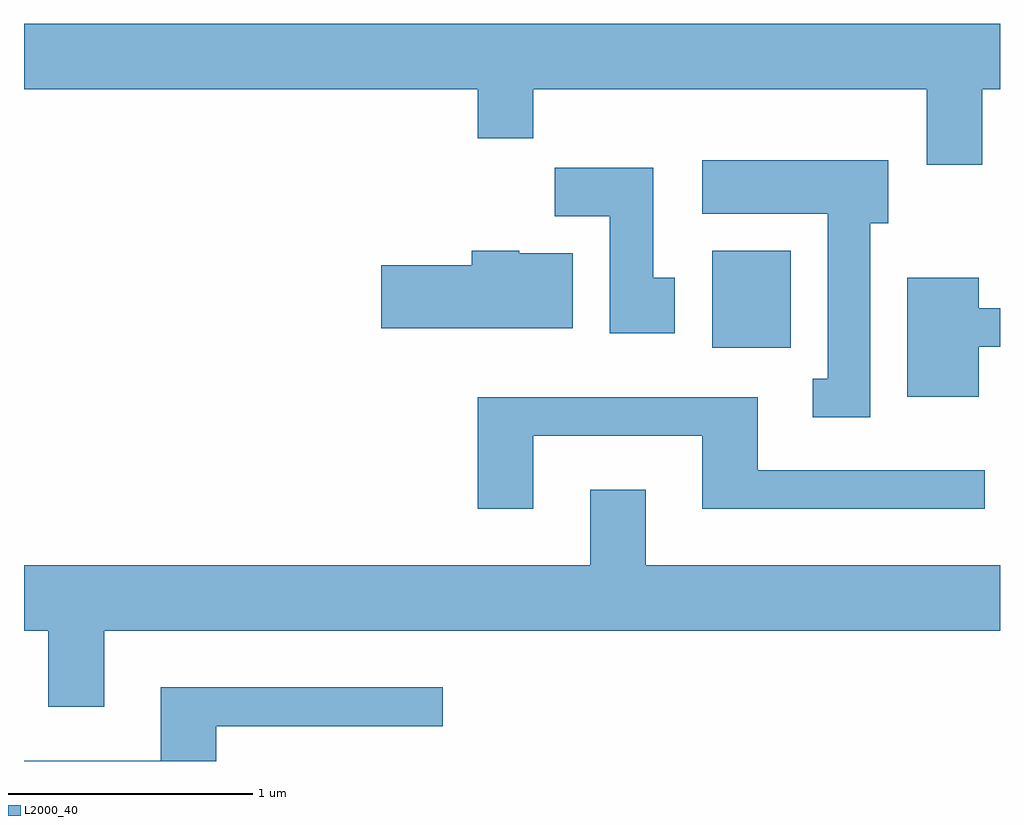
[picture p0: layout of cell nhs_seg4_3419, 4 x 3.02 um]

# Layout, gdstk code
import gdstk
lib = gdstk.Library(unit=1e-6, precision=1e-09)
def R(c, l, rs):  # rectangles x0, y0, x1, y1
    for r in rs: c.add(gdstk.rectangle(r[:2], r[2:], *l))
def P(c, l, *ps):  # polygons
    for p in ps: c.add(gdstk.Polygon(p, *l))
L2000_40 = (2000, 40)

nhs_seg4_3419 = lib.new_cell('nhs_seg4_3419')
R(nhs_seg4_3419, L2000_40, [(288.431,1293.676,288.754,1294.074)])
P(nhs_seg4_3419, L2000_40, [(289.539,1294.736),(289.611,1294.736),(289.611,1295.004),(285.611,1295.004),(285.611,1294.736),(287.471,1294.736),(287.471,1294.536),(287.699,1294.536),(287.699,1294.736),(289.311,1294.736),(289.311,1294.426),(289.539,1294.426)],
  [(289.079,1294.186),(289.154,1294.186),(289.154,1294.444),(288.391,1294.444),(288.391,1294.226),(288.906,1294.226),(288.906,1293.549),(288.843,1293.549),(288.843,1293.391),(289.079,1293.391)],
  [(288.279,1293.964),(288.189,1293.964),(288.189,1294.414),(287.786,1294.414),(287.786,1294.216),(288.011,1294.216),(288.011,1293.736),(288.279,1293.736)],
  [(287.859,1294.064),(287.64,1294.064),(287.64,1294.074),(287.446,1294.074),(287.446,1294.014),(287.076,1294.014),(287.076,1293.756),(287.859,1293.756)],
  [(289.524,1293.681),(289.611,1293.681),(289.611,1293.839),(289.524,1293.839),(289.524,1293.964),(289.231,1293.964),(289.231,1293.476),(289.524,1293.476)],
  [(287.699,1293.316),(288.391,1293.316),(288.391,1293.016),(289.548,1293.016),(289.548,1293.174),(288.619,1293.174),(288.619,1293.474),(287.471,1293.474),(287.471,1293.016),(287.699,1293.016)],
  [(285.939,1292.516),(289.611,1292.516),(289.611,1292.784),(288.159,1292.784),(288.159,1293.094),(287.931,1293.094),(287.931,1292.784),(285.611,1292.784),(285.611,1292.516),(285.711,1292.516),(285.711,1292.206),(285.939,1292.206)],
  [(286.399,1292.126),(287.328,1292.126),(287.328,1292.284),(286.171,1292.284),(286.171,1291.984),(285.611,1291.984),(285.611,1291.982),(286.399,1291.982)])

lib.write_gds('nhs_seg4_3419.gds')
